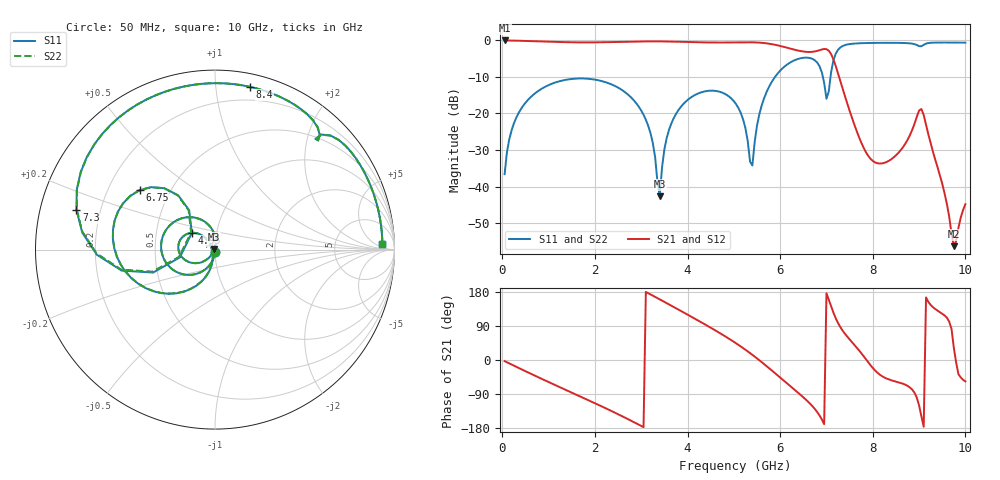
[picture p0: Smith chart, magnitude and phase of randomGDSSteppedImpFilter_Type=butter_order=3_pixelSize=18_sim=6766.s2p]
! freq	dB(S11)	phase(S11)	dB(S12)	phase(S12)
!  dB(S21)	phase(S21)	dB(S22)	phase(S22)
!S-par simulation data
#  GHz  S  DB  R 50
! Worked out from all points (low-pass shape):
!   200 points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, 50 MHz to 10 GHz, reference 50 ohm
!   highest |S21| = 0.00 dB at 50 MHz (marker M1); lowest = -56.3 dB at 9.75 GHz (marker M2)
!   |S21| within 3 dB of the highest: start of sweep to 6.485 GHz; 6.75 GHz to 7.061 GHz (310.4 MHz wide, 4.5 % of centre)
!   lowest |S11| = -42.7 dB at 3.4 GHz (marker M3), VSWR 1.01, Z = 49.3 + j0.0777 ohm
!   |S11| at or under -10 dB: start of sweep to 5.889 GHz; 6.922 GHz to 7.088 GHz (165.4 MHz wide, 2.36 % of centre)
!   |S22| runs from -41.9 to -0.6 dB; largest |S21 - S12| = 0
!   S11 on the Smith chart (normalised r, x): 50 MHz: 1.00, -0.03; 4.95 GHz: 0.76, +0.15; 6.75 GHz: 0.34, +0.31; 7.3 GHz: 0.11, +0.14; 8.4 GHz: 0.09, +1.23; 10 GHz: 24, +11
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0.05  -36.62 -92.8  -0.00 -3.0  -0.00 -3.0  -36.62 -92.8
0.5  -17.08 -120.2  -0.13 -29.6  -0.13 -29.6  -17.07 -120.2
1.75  -10.42 169.5  -0.53 -100.0  -0.53 -100.0  -10.42 169.6
2.95  -18.20 100.1  -0.28 -170.8  -0.28 -170.8  -18.19 100.5
3.25  -28.07 84.8  -0.25 169.9  -0.25 169.9  -28.04 86.2
3.4  -42.71 173.8  -0.26 160.0  -0.26 160.0  -41.93 174.8
3.55  -26.73 -124.9  -0.29 150.1  -0.29 150.1  -26.72 -126.2
3.8  -19.15 -138.7  -0.36 133.3  -0.36 133.3  -19.14 -139.2
4.95  -15.95 144.1  -0.54 51.9  -0.54 51.9  -15.95 144.1
5.05  -17.48 137.3  -0.52 43.9  -0.52 43.9  -17.48 137.4
5.4  -34.24 -137.3  -0.51 13.7  -0.51 13.7  -33.98 -138.4
5.8  -11.76 -121.7  -0.97 -25.6  -0.97 -25.6  -11.76 -122.0
6.7  -5.06 147.6  -3.10 -122.3  -3.10 -122.3  -5.05 147.6
6.75  -5.44 141.8  -3.00 -129.4  -3.00 -129.4  -5.43 141.8
7  -15.97 144.1  -2.39 176.0  -2.39 176.0  -15.74 144.6
7.3  -1.91 164.1  -11.13 86.7  -11.13 86.7  -1.91 163.7
7.85  -0.71 111.1  -30.54 2.4  -30.54 2.4  -0.71 110.9
8.35  -0.65 80.7  -32.93 -51.4  -32.93 -51.4  -0.65 80.5
8.4  -0.65 77.9  -32.54 -53.5  -32.54 -53.5  -0.65 77.7
9.05  -1.59 47.8  -18.78 -148.8  -18.78 -148.8  -1.60 47.7
9.75  -0.58 13.3  -56.33 32.5  -56.33 32.5  -0.58 13.2
10  -0.60 1.9  -44.84 -56.4  -44.84 -56.4  -0.60 1.8
